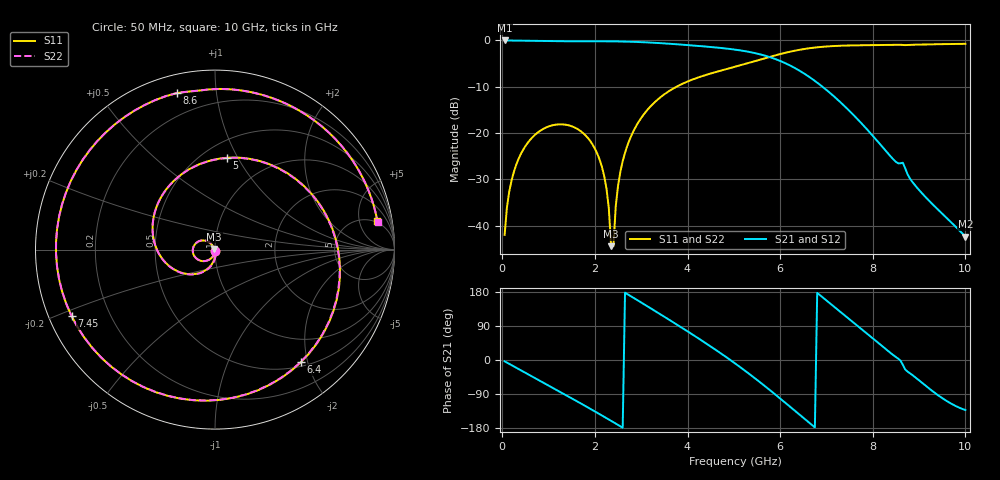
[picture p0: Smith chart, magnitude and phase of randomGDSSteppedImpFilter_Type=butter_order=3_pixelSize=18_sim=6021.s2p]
! freq	dB(S11)	phase(S11)	dB(S12)	phase(S12)
!  dB(S21)	phase(S21)	dB(S22)	phase(S22)
!S-par simulation data
#  GHz  S  DB  R 50
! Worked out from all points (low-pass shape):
!   200 points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, 50 MHz to 10 GHz, reference 50 ohm
!   highest |S21| = -0.01 dB at 50 MHz (marker M1); lowest = -42.4 dB at 10 GHz (marker M2)
!   |S21| within 3 dB of the highest: start of sweep to 5.568 GHz
!   lowest |S11| = -44.4 dB at 2.35 GHz (marker M3), VSWR 1.01, Z = 49.5 + j0.362 ohm
!   |S11| at or under -10 dB: start of sweep to 3.763 GHz
!   |S22| runs from -45.8 to -0.7 dB; largest |S21 - S12| = 0
!   S11 on the Smith chart (normalised r, x): 50 MHz: 1.00, -0.02; 5 GHz: 0.65, +0.90; 6.4 GHz: 0.57, -1.89; 7.45 GHz: 0.07, -0.22; 8.6 GHz: 0.09, +0.78; 10 GHz: 5, +9
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0.05  -42.00 -91.9  -0.01 -3.5  -0.01 -3.5  -42.00 -91.9
0.2  -30.26 -102.7  -0.03 -13.6  -0.03 -13.6  -30.26 -102.8
0.55  -22.11 -127.4  -0.08 -37.3  -0.08 -37.3  -22.11 -127.5
1.15  -18.20 -167.8  -0.17 -77.6  -0.17 -77.6  -18.21 -168.2
1.75  -20.07 151.8  -0.19 -118.4  -0.19 -118.4  -20.07 150.8
2.2  -29.27 123.4  -0.19 -149.9  -0.19 -149.9  -29.30 119.5
2.3  -36.23 122.2  -0.20 -157.0  -0.20 -157.0  -36.38 112.9
2.35  -44.45 142.4  -0.20 -160.6  -0.20 -160.6  -45.82 112.9
2.65  -24.26 -96.1  -0.25 177.6  -0.25 177.6  -24.27 -93.5
3.4  -12.40 -149.7  -0.58 121.7  -0.58 121.7  -12.40 -149.1
4.1  -8.48 156.9  -1.08 67.8  -1.08 67.8  -8.48 157.1
5  -5.75 82.8  -1.95 -6.6  -1.95 -6.6  -5.76 82.4
5.05  -5.62 78.4  -2.02 -11.1  -2.02 -11.1  -5.62 77.9
5.7  -3.77 17.8  -3.37 -71.8  -3.37 -71.8  -3.77 17.0
6.4  -2.06 -52.5  -6.43 -142.3  -6.43 -142.3  -2.06 -53.4
6.7  -1.60 -82.7  -8.39 -172.8  -8.39 -172.8  -1.60 -83.6
7.45  -1.10 -155.2  -14.77 112.1  -14.77 112.1  -1.10 -155.8
7.85  -1.03 168.2  -18.93 72.3  -18.93 72.3  -1.03 167.6
8.35  -0.97 124.6  -24.65 21.9  -24.65 21.9  -0.97 124.2
8.6  -0.94 103.6  -26.53 -1.9  -26.53 -1.9  -0.94 103.4
9.15  -0.87 62.6  -33.95 -68.7  -33.95 -68.7  -0.87 62.5
10  -0.74 9.9  -42.39 -132.1  -42.39 -132.1  -0.74 9.8
